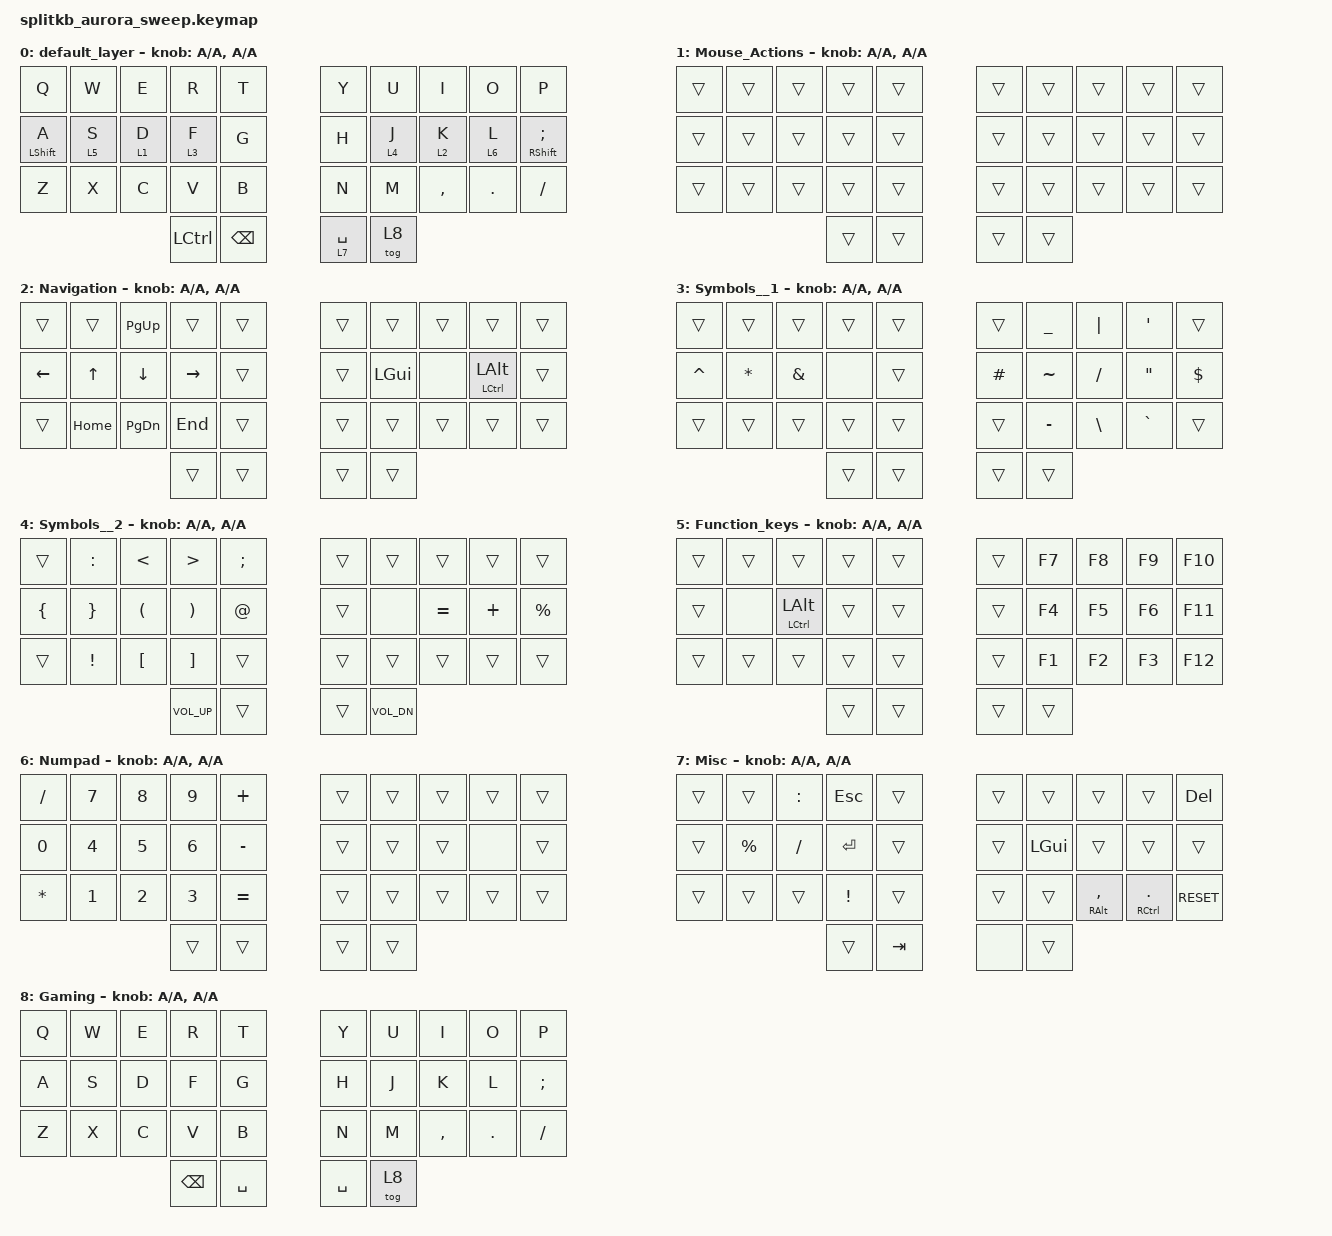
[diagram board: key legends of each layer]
/*
 * Copyright (c) 2022 The ZMK Contributors
 *
 * SPDX-License-Identifier: MIT
 */

#include <behaviors.dtsi>
#include <dt-bindings/zmk/keys.h>

&mt {
    flavor = "tap-preferred";
    tapping_term_ms = <200>;
};

/ {
    behaviors {
        hm: homerow_mods {
            compatible = "zmk,behavior-hold-tap";
            label = "HOMEROW_MODS";
            #binding-cells = <2>;
            tapping-term-ms = <150>;
            quick-tap-ms = <0>;
            flavor = "tap-preferred";
            bindings = <&kp>, <&kp>;
        };
    };
    
    combos {
        compatible = "zmk,combos";

        combo_esc {
            timeout-ms = <50>;
            key-positions = <0 1>;
            bindings = <&kp ESC>;
        };

        combo_copy {
            bindings = <&kp K_COPY>;
            key-positions = <2 3>;
        };

        combo_paste {
            bindings = <&kp K_PASTE>;
            key-positions = <22 23>;
        };

        combo_undo {
            bindings = <&kp K_UNDO>;
            key-positions = <12 13>;
        };

        combo_caps {
            bindings = <&caps_word>;
            key-positions = <10 19>;
        };
    };

    keymap {
        compatible = "zmk,keymap";

        default_layer {
            bindings = <
        &kp Q    &kp W    &kp E             &kp R          &kp T        &kp Y         &kp U      &kp I    &kp O                      &kp P
 &hm LSHIFT A  &lt 5 S  &lt 1 D           &lt 3 F          &kp G        &kp H       &lt 4 J    &lt 2 K  &lt 6 L  &hm RIGHT_SHIFT SEMICOLON
        &kp Z    &kp X    &kp C             &kp V          &kp B        &kp N         &kp M  &kp COMMA  &kp DOT                  &kp SLASH
                                 &kp LEFT_CONTROL  &kp BACKSPACE  &lt 7 SPACE  &tog 8
            >;

            sensor-bindings = <&inc_dec_kp A A &inc_dec_kp A A>;
        };

        Mouse_Actions {
            bindings = <
 &trans  &trans  &trans  &trans  &trans  &trans  &trans  &trans  &trans  &trans
 &trans  &trans  &trans  &trans  &trans  &trans  &trans  &trans  &trans  &trans
 &trans  &trans  &trans  &trans  &trans  &trans  &trans  &trans  &trans  &trans
                         &trans  &trans  &trans  &trans
            >;

            sensor-bindings = <&inc_dec_kp A A &inc_dec_kp A A>;
        };

        Navigation {
            bindings = <
   &trans    &trans    &kp PAGE_UP     &trans  &trans  &trans        &trans  &trans              &trans  &trans
 &kp LEFT    &kp UP       &kp DOWN  &kp RIGHT  &trans  &trans  &kp LEFT_GUI   &none  &mt LCTRL LEFT_ALT  &trans
   &trans  &kp HOME  &kp PAGE_DOWN    &kp END  &trans  &trans        &trans  &trans              &trans  &trans
                                       &trans  &trans  &trans        &trans
            >;

            sensor-bindings = <&inc_dec_kp A A &inc_dec_kp A A>;
        };

        Symbols__1 {
            bindings = <
    &trans    &trans    &trans  &trans  &trans     &trans  &kp UNDER   &kp PIPE   &kp SINGLE_QUOTE      &trans
 &kp CARET  &kp STAR  &kp AMPS   &none  &trans  &kp POUND  &kp TILDE  &kp SLASH  &kp DOUBLE_QUOTES  &kp DOLLAR
    &trans    &trans    &trans  &trans  &trans     &trans  &kp MINUS   &kp BSLH          &kp GRAVE      &trans
                                &trans  &trans     &trans     &trans
            >;

            sensor-bindings = <&inc_dec_kp A A &inc_dec_kp A A>;
        };

        Symbols__2 {
            bindings = <
         &trans        &kp COLON     &kp LESS_THAN   &kp GREATER_THAN  &kp SEMI  &trans        &trans     &trans    &trans       &trans
 &kp LEFT_BRACE  &kp RIGHT_BRACE          &kp LPAR           &kp RPAR    &kp AT  &trans         &none  &kp EQUAL  &kp PLUS  &kp PERCENT
         &trans         &kp EXCL  &kp LEFT_BRACKET  &kp RIGHT_BRACKET    &trans  &trans        &trans     &trans    &trans       &trans
                                                         &kp C_VOL_UP    &trans  &trans  &kp C_VOL_DN
            >;

            sensor-bindings = <&inc_dec_kp A A &inc_dec_kp A A>;
        };

        Function_keys {
            bindings = <
 &trans  &trans                     &trans  &trans  &trans  &trans  &kp F7  &kp F8  &kp F9  &kp F10
 &trans   &none  &mt LEFT_CONTROL LEFT_ALT  &trans  &trans  &trans  &kp F4  &kp F5  &kp F6  &kp F11
 &trans  &trans                     &trans  &trans  &trans  &trans  &kp F1  &kp F2  &kp F3  &kp F12
                                            &trans  &trans  &trans  &trans
            >;

            sensor-bindings = <&inc_dec_kp A A &inc_dec_kp A A>;
        };

        Numpad {
            bindings = <
    &kp SLASH  &kp NUMBER_7  &kp NUMBER_8  &kp NUMBER_9   &kp PLUS  &trans  &trans  &trans  &trans  &trans
 &kp NUMBER_0  &kp NUMBER_4  &kp NUMBER_5  &kp NUMBER_6  &kp MINUS  &trans  &trans  &trans   &none  &trans
    &kp ASTRK  &kp NUMBER_1  &kp NUMBER_2  &kp NUMBER_3  &kp EQUAL  &trans  &trans  &trans  &trans  &trans
                                                 &trans     &trans  &trans  &trans
            >;

            sensor-bindings = <&inc_dec_kp A A &inc_dec_kp A A>;
        };

        Misc {
            bindings = <
 &trans       &trans  &kp COLON    &kp ESC   &trans  &trans        &trans               &trans                 &trans      &kp DEL
 &trans  &kp PERCENT  &kp SLASH  &kp ENTER   &trans  &trans  &kp LEFT_GUI               &trans                 &trans       &trans
 &trans       &trans     &trans   &kp EXCL   &trans  &trans        &trans  &mt RIGHT_ALT COMMA  &mt RIGHT_CONTROL DOT  &kp C_RESET
                                    &trans  &kp TAB   &none        &trans
            >;

            sensor-bindings = <&inc_dec_kp A A &inc_dec_kp A A>;
        };
        
        Gaming {
            bindings = <
        &kp Q    &kp W    &kp E             &kp R          &kp T        &kp Y         &kp U      &kp I      &kp O       &kp P
        &kp A    &kp S    &kp D             &kp F          &kp G        &kp H         &kp J      &kp K      &kp L       &kp SEMICOLON
        &kp Z    &kp X    &kp C             &kp V          &kp B        &kp N         &kp M      &kp COMMA  &kp DOT     &kp SLASH
                                            &kp BACKSPACE  &kp SPACE    &kp SPACE     &tog 8
            >;

            sensor-bindings = <&inc_dec_kp A A &inc_dec_kp A A>;
        };
    };
};
